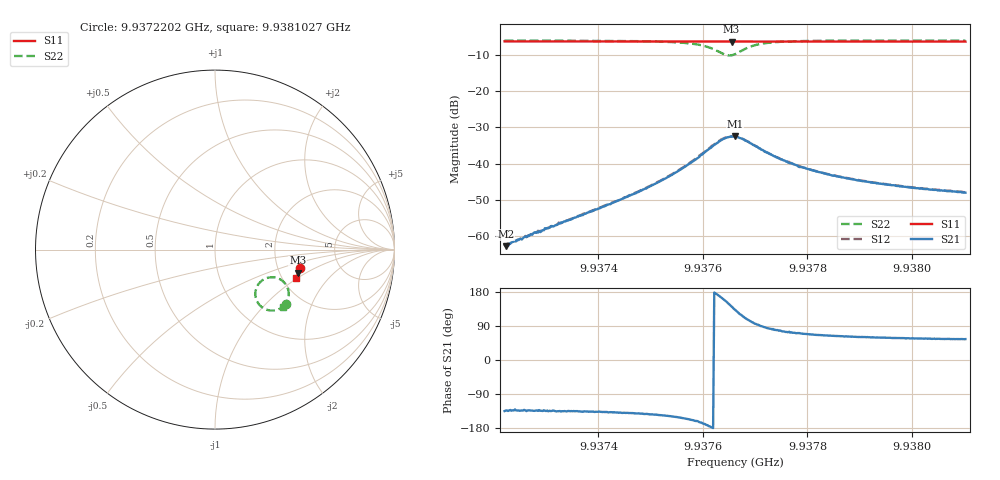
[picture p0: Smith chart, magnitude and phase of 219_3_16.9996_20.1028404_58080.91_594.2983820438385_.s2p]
#  HZ  S  RI  R  50.00
! Rohde & Schwarz Vector Network Analyzer
! Rohde-Schwarz,ZNB20-2Port,1311601062101988,3.16
! Created: UTC 3/20/2024, 11:01:54 PM
! freq[Hz]  re:S11  im:S11  re:S21  im:S21  re:S12  im:S12  re:S22  im:S22
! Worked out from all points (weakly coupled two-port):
!   401 points, 9.9372202 GHz to 9.9381027 GHz, reference 50 ohm
!   highest |S21| = -32.47 dB at 9.9376615 GHz (marker M1); lowest = -62.7 dB at 9.9372224 GHz (marker M2)
!   lowest |S11| = -6.4 dB at 9.9376548 GHz (marker M3), VSWR 2.84, Z = 126 - j42 ohm
!   |S11| at or under -10 dB: nowhere
!   |S22| runs from -10.2 to -6.1 dB; largest |S21 - S12| = 0.0011
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9.93722019e9  0.473 -0.1014  -0.000537 -0.000542  -0.000537 -0.000514  0.3934 -0.3053
9.9372224e9  0.473 -0.1016  -0.000505 -0.000533  -0.000517 -0.000545  0.3933 -0.3055
9.93727314e9  0.4721 -0.105  -0.000734 -0.000756  -0.000763 -0.000779  0.3888 -0.3096
9.93728859e9  0.4717 -0.1061  -0.000795 -0.000829  -0.000817 -0.000873  0.3874 -0.3108
9.93736801e9  0.47 -0.1115  -0.00142 -0.00135  -0.00146 -0.00137  0.3783 -0.3183
9.93743862e9  0.4685 -0.1163  -0.00238 -0.00204  -0.00241 -0.00204  0.3666 -0.3263
9.93751584e9  0.4666 -0.1215  -0.00464 -0.00322  -0.00476 -0.0032  0.3432 -0.3361
9.93756437e9  0.4653 -0.125  -0.00809 -0.00394  -0.00834 -0.00386  0.3123 -0.3395
9.93760409e9  0.4636 -0.1276  -0.0142 -0.00273  -0.0145 -0.00249  0.2631 -0.3219
9.93761953e9  0.4628 -0.1282  -0.0177 -0.000139  -0.018 0.000471  0.2388 -0.2959
9.93763498e9  0.462 -0.1287  -0.0204 0.00534  -0.0207 0.00613  0.2249 -0.2492
9.93764601e9  0.4616 -0.1287  -0.0205 0.0105  -0.0205 0.0115  0.2336 -0.2074
9.93765483e9  0.4615 -0.1289  -0.0184 0.0148  -0.018 0.0156  0.2556 -0.1776
9.93766145e9  0.4618 -0.129  -0.0161 0.0175  -0.0155 0.0182  0.2785 -0.1625
9.93767248e9  0.462 -0.1293  -0.0111 0.0195  -0.0104 0.0201  0.32 -0.1539
9.93768793e9  0.4624 -0.1303  -0.00511 0.0193  -0.00442 0.0193  0.3657 -0.1672
9.9377122e9  0.4625 -0.1319  0.000218 0.0156  0.000643 0.0158  0.3999 -0.2036
9.93776294e9  0.4618 -0.136  0.00302 0.00996  0.00314 0.0102  0.4107 -0.2537
9.93780927e9  0.4608 -0.1393  0.00314 0.00753  0.00332 0.00748  0.4064 -0.2764
9.93787988e9  0.4591 -0.1441  0.00294 0.00551  0.00305 0.0055  0.3985 -0.2954
9.9379571e9  0.4571 -0.1491  0.00265 0.00438  0.00277 0.00435  0.3912 -0.3077
9.93810271e9  0.4534 -0.1587  0.00229 0.00329  0.00238 0.00329  0.3797 -0.3224
